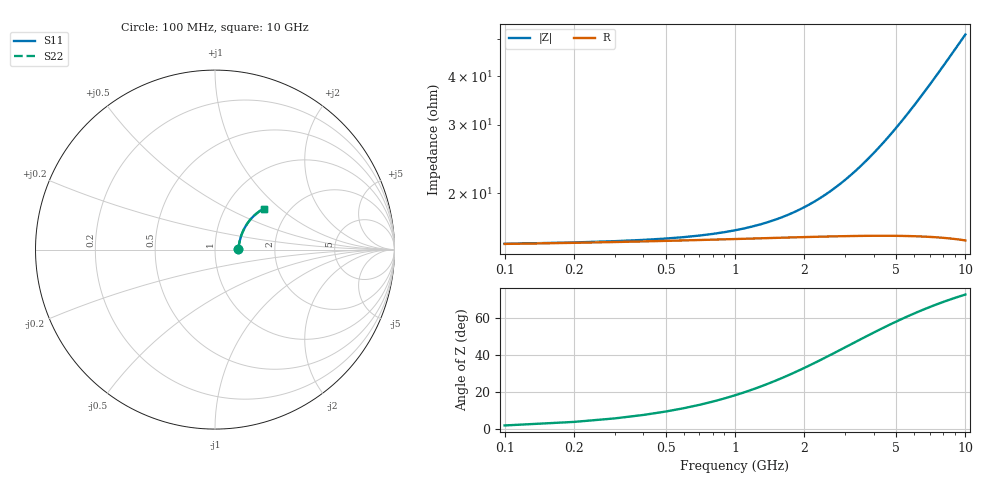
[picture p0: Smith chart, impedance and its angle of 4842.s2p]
# Hz S RI R 50.00
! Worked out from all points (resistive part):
!   100 points, 100 MHz to 10 GHz, reference 50 ohm
!   read as one part in series: R = 14.8 ohm at 100 MHz
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1e8  0.129 0.00294  0.871 -0.00467  0.871 -0.00467  0.129 0.00294
6e8  0.1319 0.0175  0.868 -0.0279  0.868 -0.0279  0.1319 0.0175
8e8  0.1329 0.0233  0.867 -0.0371  0.867 -0.0371  0.1329 0.0233
1e9  0.1339 0.029  0.8659 -0.0463  0.8659 -0.0463  0.1339 0.029
1.4e9  0.1361 0.0405  0.8636 -0.0647  0.8636 -0.0647  0.1361 0.0405
1.8e9  0.1387 0.0518  0.8608 -0.0829  0.8608 -0.0829  0.1387 0.0518
2.1e9  0.1409 0.0602  0.8584 -0.0965  0.8584 -0.0965  0.1409 0.0602
2.4e9  0.1433 0.0685  0.8558 -0.11  0.8558 -0.11  0.1433 0.0685
2.9e9  0.1478 0.0822  0.8508 -0.1323  0.8508 -0.1323  0.1478 0.0822
3.4e9  0.153 0.0955  0.8451 -0.1543  0.8451 -0.1543  0.153 0.0955
4.3e9  0.1639 0.1186  0.8331 -0.193  0.8331 -0.193  0.1639 0.1186
5.1e9  0.1753 0.1381  0.8205 -0.2264  0.8205 -0.2264  0.1753 0.1381
5.5e9  0.1816 0.1473  0.8136 -0.2426  0.8136 -0.2426  0.1816 0.1473
5.9e9  0.1881 0.1563  0.8063 -0.2585  0.8063 -0.2585  0.1881 0.1563
6.3e9  0.195 0.165  0.7986 -0.2742  0.7986 -0.2742  0.195 0.165
6.7e9  0.2023 0.1733  0.7905 -0.2894  0.7905 -0.2894  0.2023 0.1733
7.1e9  0.2098 0.1812  0.7821 -0.3044  0.7821 -0.3044  0.2098 0.1812
7.5e9  0.2175 0.1889  0.7734 -0.319  0.7734 -0.319  0.2175 0.1889
7.9e9  0.2256 0.1961  0.7644 -0.3332  0.7644 -0.3332  0.2256 0.1961
8.4e9  0.2359 0.2046  0.7527 -0.3505  0.7527 -0.3505  0.2359 0.2046
9.2e9  0.2532 0.217  0.7331 -0.3769  0.7331 -0.3769  0.2532 0.217
1e10  0.2711 0.2278  0.7127 -0.4018  0.7127 -0.4018  0.2711 0.2278
